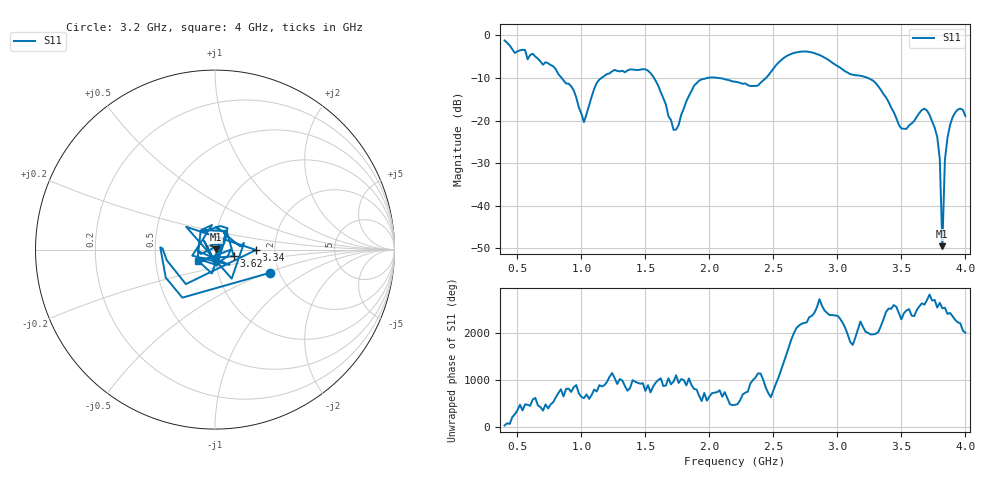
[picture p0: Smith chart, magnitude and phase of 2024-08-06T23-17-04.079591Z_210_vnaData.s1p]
!Created with skrf (http://scikit-rf.org).
# Hz S RI R 50.0
!freq ReS11 ImS11
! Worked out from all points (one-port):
!   181 points, 400 MHz to 4 GHz, reference 50 ohm
!   lowest |S11| = -49.5 dB at 3.82 GHz (marker M1), VSWR 1.01, Z = 50.3 + j0.105 ohm
!   |S11| at or under -10 dB: 1.567 GHz to 1.985 GHz (417.7 MHz wide, 23.5 % of centre); 2.069 GHz to 2.442 GHz (372.4 MHz wide, 16.5 % of centre); 3.238 GHz to end of sweep (the widest 3 of 4)
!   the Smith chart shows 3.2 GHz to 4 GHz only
!   S11 on the Smith chart (normalised r, x): 3.2 GHz: 1.78, -0.52; 3.34 GHz: 1.59, -0.01; 3.62 GHz: 1.23, -0.09; 4 GHz: 0.82, -0.10
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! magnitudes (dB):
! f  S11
! 400 MHz  -1.2
! 860 MHz  -10.6
! 940 MHz  -12.9
! 1.02 GHz  -20.4
! 1.12 GHz  -11.2
! 1.3 GHz  -8.5
! 1.52 GHz  -8.3
! 1.6 GHz  -11.8
! 1.72 GHz  -22.2
! 1.76 GHz  -21.0
! 1.92 GHz  -10.6
! 2.2 GHz  -10.9
! 2.38 GHz  -11.8
! 2.66 GHz  -4.1
! 3.1 GHz  -9.1
! 3.2 GHz  -9.6
! 3.34 GHz  -12.8
! 3.5 GHz  -21.9
! 3.56 GHz  -21.1
! 3.62 GHz  -19.1
! 3.7 GHz  -17.6
! 3.78 GHz  -23.8
! 3.8 GHz  -29.0
! 3.82 GHz  -49.5
! 3.84 GHz  -29.2
! 3.86 GHz  -24.0
! 3.92 GHz  -18.1
! 4 GHz  -18.9
